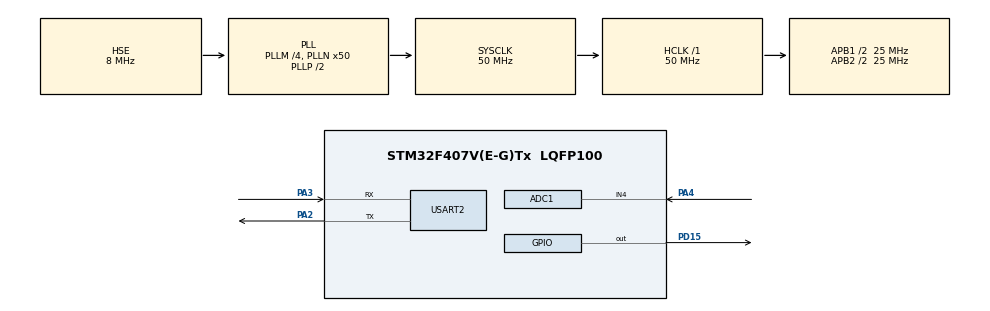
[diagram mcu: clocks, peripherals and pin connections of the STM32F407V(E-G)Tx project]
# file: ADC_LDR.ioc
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ADC1.Channel-0\#ChannelRegularConversion=ADC_CHANNEL_4
ADC1.NbrOfConversionFlag=1
ADC1.Rank-0\#ChannelRegularConversion=1
ADC1.SamplingTime-0\#ChannelRegularConversion=ADC_SAMPLETIME_84CYCLES
ADC1.master=1
Mcu.Family=STM32F4
Mcu.Name=STM32F407V(E-G)Tx
Mcu.Package=LQFP100
NVIC.PriorityGroup=NVIC_PRIORITYGROUP_0
PA13.Mode=Serial_Wire
PA13.Signal=SYS_JTMS-SWDIO
PA14.Mode=Serial_Wire
PA14.Signal=SYS_JTCK-SWCLK
PA2.Mode=Asynchronous
PA2.Signal=USART2_TX
PA3.Mode=Asynchronous
PA3.Signal=USART2_RX
PA4.Signal=ADCx_IN4
PD15.GPIO_Speed=GPIO_SPEED_FREQ_HIGH
PD15.Signal=GPIO_Output
PH0-OSC_IN.Mode=HSE-External-Oscillator
PH0-OSC_IN.Signal=RCC_OSC_IN
PH1-OSC_OUT.Mode=HSE-External-Oscillator
PH1-OSC_OUT.Signal=RCC_OSC_OUT
ProjectManager.HeapSize=0x200
ProjectManager.StackSize=0x400
ProjectManager.TargetToolchain=STM32CubeIDE
RCC.48MHZClocksFreq_Value=14285714.285714285
RCC.AHBFreq_Value=50000000
RCC.APB1CLKDivider=RCC_HCLK_DIV2
RCC.APB1Freq_Value=25000000
RCC.APB1TimFreq_Value=50000000
RCC.APB2CLKDivider=RCC_HCLK_DIV2
RCC.APB2Freq_Value=25000000
RCC.APB2TimFreq_Value=50000000
RCC.CortexFreq_Value=50000000
RCC.HCLKFreq_Value=50000000
RCC.HSE_VALUE=8000000
RCC.HSI_VALUE=16000000
RCC.PLLM=4
RCC.PLLN=50
RCC.PLLQ=7
RCC.PLLSourceVirtual=RCC_PLLSOURCE_HSE
RCC.SYSCLKFreq_VALUE=50000000
RCC.SYSCLKSource=RCC_SYSCLKSOURCE_PLLCLK
RCC.VCOOutputFreq_Value=100000000
SH.ADCx_IN4.0=ADC1_IN4,IN4
USART2.VirtualMode=VM_ASYNC
board=STM32F407G-DISC1

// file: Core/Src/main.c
/* USER CODE BEGIN Header */
/**
  ******************************************************************************
  * @file           : main.c
  * @brief          : Main program body
  ******************************************************************************
  * @attention
  *
  * Copyright (c) 2026 STMicroelectronics.
  * All rights reserved.
  *
  * This software is licensed under terms that can be found in the LICENSE file
  * in the root directory of this software component.
  * If no LICENSE file comes with this software, it is provided AS-IS.
  *
  ******************************************************************************
  */
/* USER CODE END Header */
#include "main.h"

/* USER CODE BEGIN Includes */

#include "stdio.h"
#include "string.h"

/* USER CODE END Includes */

ADC_HandleTypeDef hadc1;

UART_HandleTypeDef huart2;

/* USER CODE BEGIN PV */

char uart_init_msg[] = "UART Initialized\r\n";
char adc_init_msg[] = "ADC Initialized\r\n";
char newline[] = "\r\n";
char adcbuffer8[30];
char voltagebuffer8[20];
uint32_t adc_raw_value;
float voltage;
float R_ldr;
int voltage_int;
int Rint;

/* USER CODE END PV */

void SystemClock_Config(void);
static void MX_GPIO_Init(void);
static void MX_ADC1_Init(void);
static void MX_USART2_UART_Init(void);

int main(void)
{

  /* MCU Configuration--------------------------------------------------------*/

  /* Reset of all peripherals, Initializes the Flash interface and the Systick. */
  HAL_Init();

  /* Configure the system clock */
  SystemClock_Config();

  /* Initialize all configured peripherals */
  MX_GPIO_Init();
  MX_ADC1_Init();
  MX_USART2_UART_Init();
  /* USER CODE BEGIN 2 */

  HAL_UART_Transmit(&huart2, (uint8_t *)uart_init_msg, strlen(uart_init_msg) , HAL_MAX_DELAY);
  HAL_UART_Transmit(&huart2, (uint8_t *)adc_init_msg, strlen(adc_init_msg) , HAL_MAX_DELAY);

  /* USER CODE END 2 */

  /* Infinite loop */
  /* USER CODE BEGIN WHILE */
  while (1)
  {

	  HAL_ADC_Start(&hadc1);
	  if(HAL_ADC_PollForConversion(&hadc1, HAL_MAX_DELAY)==HAL_OK)
	  {
		  adc_raw_value = HAL_ADC_GetValue(&hadc1);
	  }
	  HAL_ADC_Stop(&hadc1);

	  voltage = (adc_raw_value * 3.3f) / 4095.0f;
	  voltage_int = (int)(voltage * 100);   // keep 2 decimals

	  sprintf(adcbuffer8,"ADC=%lu Voltage=%d.%02d V",adc_raw_value,voltage_int/100,voltage_int%100);
	  HAL_UART_Transmit(&huart2, (uint8_t *)adcbuffer8, strlen(adcbuffer8) , HAL_MAX_DELAY);
	  HAL_UART_Transmit(&huart2, (uint8_t *)newline, strlen(newline) , HAL_MAX_DELAY);

	  R_ldr = 10000 * (3.3 - voltage) / voltage;
	  Rint = (int)R_ldr;

	  sprintf(adcbuffer8,"ADC=%lu LDR=%d Ohm",adc_raw_value,Rint);
	  HAL_UART_Transmit(&huart2, (uint8_t *)adcbuffer8, strlen(adcbuffer8) , HAL_MAX_DELAY);
	  HAL_UART_Transmit(&huart2, (uint8_t *)newline, strlen(newline) , HAL_MAX_DELAY);

	  HAL_UART_Transmit(&huart2, (uint8_t *)newline, strlen(newline) , HAL_MAX_DELAY);

	  HAL_Delay(500);

    /* USER CODE END WHILE */

  }
}

void SystemClock_Config(void)
{
  RCC_OscInitTypeDef RCC_OscInitStruct = {0};
  RCC_ClkInitTypeDef RCC_ClkInitStruct = {0};

  /** Configure the main internal regulator output voltage
  */
  __HAL_RCC_PWR_CLK_ENABLE();
  __HAL_PWR_VOLTAGESCALING_CONFIG(PWR_REGULATOR_VOLTAGE_SCALE1);

  /** Initializes the RCC Oscillators according to the specified parameters
  * in the RCC_OscInitTypeDef structure.
  */
  RCC_OscInitStruct.OscillatorType = RCC_OSCILLATORTYPE_HSE;
  RCC_OscInitStruct.HSEState = RCC_HSE_ON;
  RCC_OscInitStruct.PLL.PLLState = RCC_PLL_ON;
  RCC_OscInitStruct.PLL.PLLSource = RCC_PLLSOURCE_HSE;
  RCC_OscInitStruct.PLL.PLLM = 4;
  RCC_OscInitStruct.PLL.PLLN = 50;
  RCC_OscInitStruct.PLL.PLLP = RCC_PLLP_DIV2;
  RCC_OscInitStruct.PLL.PLLQ = 7;
  if (HAL_RCC_OscConfig(&RCC_OscInitStruct) != HAL_OK)
  {
    Error_Handler();
  }

  /** Initializes the CPU, AHB and APB buses clocks
  */
  RCC_ClkInitStruct.ClockType = RCC_CLOCKTYPE_HCLK|RCC_CLOCKTYPE_SYSCLK
                              |RCC_CLOCKTYPE_PCLK1|RCC_CLOCKTYPE_PCLK2;
  RCC_ClkInitStruct.SYSCLKSource = RCC_SYSCLKSOURCE_PLLCLK;
  RCC_ClkInitStruct.AHBCLKDivider = RCC_SYSCLK_DIV1;
  RCC_ClkInitStruct.APB1CLKDivider = RCC_HCLK_DIV2;
  RCC_ClkInitStruct.APB2CLKDivider = RCC_HCLK_DIV2;

  if (HAL_RCC_ClockConfig(&RCC_ClkInitStruct, FLASH_LATENCY_1) != HAL_OK)
  {
    Error_Handler();
  }
}

static void MX_ADC1_Init(void)
{

  ADC_ChannelConfTypeDef sConfig = {0};

  /** Configure the global features of the ADC (Clock, Resolution, Data Alignment and number of conversion)
  */
  hadc1.Instance = ADC1;
  hadc1.Init.ClockPrescaler = ADC_CLOCK_SYNC_PCLK_DIV2;
  hadc1.Init.Resolution = ADC_RESOLUTION_12B;
  hadc1.Init.ScanConvMode = DISABLE;
  hadc1.Init.ContinuousConvMode = DISABLE;
  hadc1.Init.DiscontinuousConvMode = DISABLE;
  hadc1.Init.ExternalTrigConvEdge = ADC_EXTERNALTRIGCONVEDGE_NONE;
  hadc1.Init.ExternalTrigConv = ADC_SOFTWARE_START;
  hadc1.Init.DataAlign = ADC_DATAALIGN_RIGHT;
  hadc1.Init.NbrOfConversion = 1;
  hadc1.Init.DMAContinuousRequests = DISABLE;
  hadc1.Init.EOCSelection = ADC_EOC_SINGLE_CONV;
  if (HAL_ADC_Init(&hadc1) != HAL_OK)
  {
    Error_Handler();
  }

  /** Configure for the selected ADC regular channel its corresponding rank in the sequencer and its sample time.
  */
  sConfig.Channel = ADC_CHANNEL_4;
  sConfig.Rank = 1;
  sConfig.SamplingTime = ADC_SAMPLETIME_84CYCLES;
  if (HAL_ADC_ConfigChannel(&hadc1, &sConfig) != HAL_OK)
  {
    Error_Handler();
  }

}

static void MX_USART2_UART_Init(void)
{

  huart2.Instance = USART2;
  huart2.Init.BaudRate = 115200;
  huart2.Init.WordLength = UART_WORDLENGTH_8B;
  huart2.Init.StopBits = UART_STOPBITS_1;
  huart2.Init.Parity = UART_PARITY_NONE;
  huart2.Init.Mode = UART_MODE_TX_RX;
  huart2.Init.HwFlowCtl = UART_HWCONTROL_NONE;
  huart2.Init.OverSampling = UART_OVERSAMPLING_16;
  if (HAL_UART_Init(&huart2) != HAL_OK)
  {
    Error_Handler();
  }

}

static void MX_GPIO_Init(void)
{
  GPIO_InitTypeDef GPIO_InitStruct = {0};

  /* GPIO Ports Clock Enable */
  __HAL_RCC_GPIOH_CLK_ENABLE();
  __HAL_RCC_GPIOA_CLK_ENABLE();
  __HAL_RCC_GPIOD_CLK_ENABLE();

  /*Configure GPIO pin Output Level */
  HAL_GPIO_WritePin(GPIOD, GPIO_PIN_15, GPIO_PIN_RESET);

  /*Configure GPIO pin : PD15 */
  GPIO_InitStruct.Pin = GPIO_PIN_15;
  GPIO_InitStruct.Mode = GPIO_MODE_OUTPUT_PP;
  GPIO_InitStruct.Pull = GPIO_NOPULL;
  GPIO_InitStruct.Speed = GPIO_SPEED_FREQ_HIGH;
  HAL_GPIO_Init(GPIOD, &GPIO_InitStruct);

}

void Error_Handler(void)
{
  __disable_irq();
  while (1)
  {
  }
}
